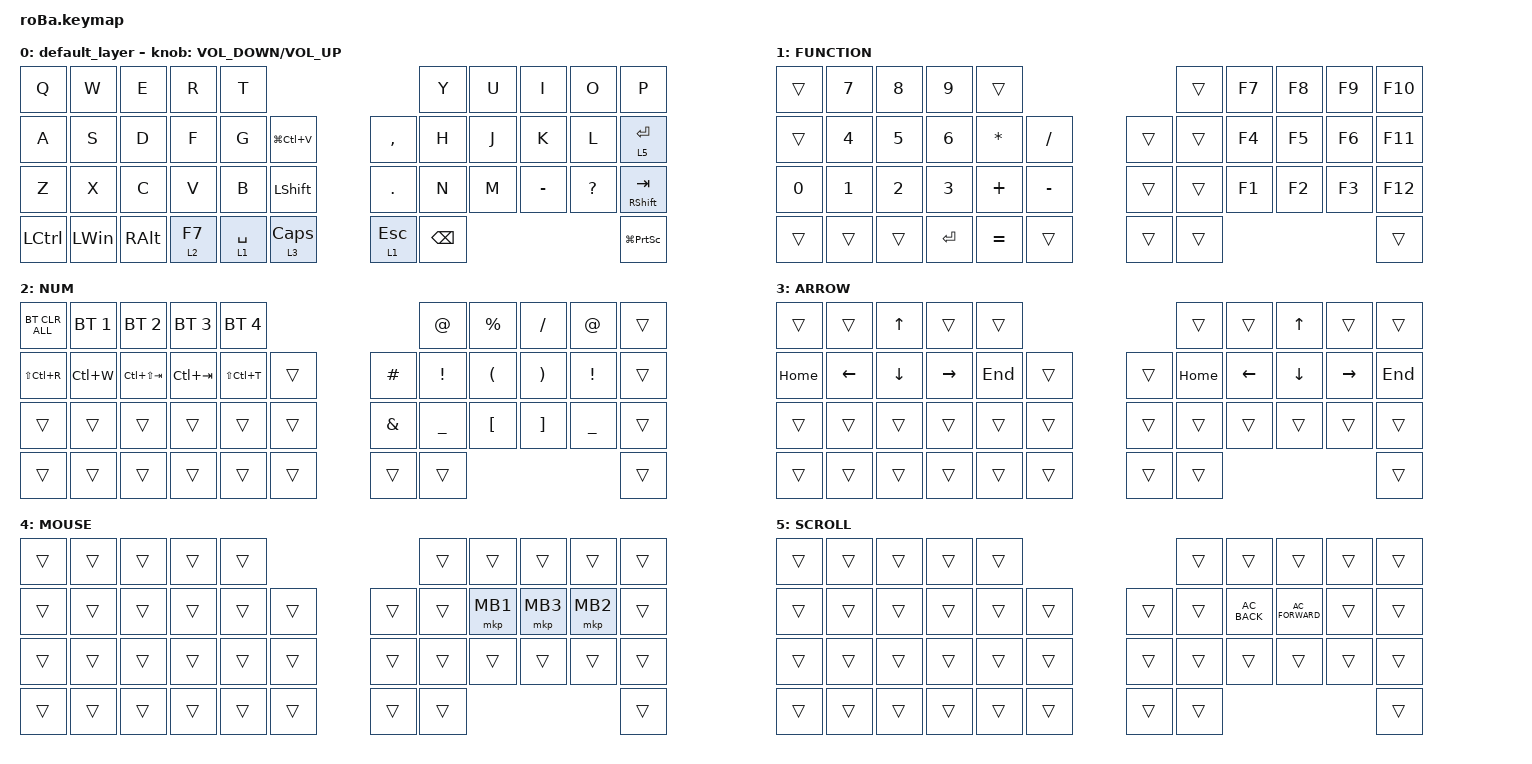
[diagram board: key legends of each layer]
#include <behaviors.dtsi>
#include <dt-bindings/zmk/bt.h>
#include <dt-bindings/zmk/keys.h>
#include <dt-bindings/zmk/pointing.h>

#define ZMK POINTING DEFAULTSCRL_VAL 100
#define MOUSE 4
#define SCROLL 5
#define NUM 6

&mt {
    flavor = "balanced";
    quick-tap-ms = <0>;
};

/ {
    combos {
        compatible = "zmk,combos";

        tab {
            bindings = <&kp TAB>;
            key-positions = <11 12>;
        };

        shift_tab {
            bindings = <&kp LS(TAB)>;
            key-positions = <12 13>;
        };

        muhennkann {
            bindings = <&to_layer_0 INT_MUHENKAN>;
            key-positions = <11 10>;
        };

        double_quotation {
            bindings = <&kp DOUBLE_QUOTES>;
            key-positions = <20 21>;
        };

        eq {
            bindings = <&kp EQUAL>;
            key-positions = <24 25>;
        };
    };

    macros {
        to_layer_0: to_layer_0 {
            compatible = "zmk,behavior-macro-one-param";
            #binding-cells = <1>;
            bindings = <&to 0 &macro_param_1to1 &kp MACRO_PLACEHOLDER>;
            label = "TO_LAYER_0";
        };
    };

    behaviors {
        lt_to_layer_0: lt_to_layer_0 {
            compatible = "zmk,behavior-hold-tap";
            label = "LAYER_TAP_TO_0";
            bindings = <&mo>, <&to_layer_0>;

            #binding-cells = <2>;
            tapping-term-ms = <200>;
        };

        scroll_up_down: behavior_sensor_rotate_mouse_wheel_up_down {
            compatible = "zmk,behavior-sensor-rotate";
            #sensor-binding-cells = <0>;
            bindings = <&msc SCRL_DOWN>, <&msc SCRL_UP>;
        };

        volume_up_down: behavior_sensor_rotate_volume {
            compatible = "zmk,behavior-sensor-rotate";
            #sensor-binding-cells = <0>;
            bindings = <&kp C_VOL_DN>, <&kp C_VOL_UP>;
        };
    };

    keymap {
        compatible = "zmk,keymap";

        default_layer {
            bindings = <
&kp Q             &kp W         &kp E          &kp R                &kp T                                                     &kp Y          &kp U  &kp I      &kp O         &kp P
&kp A             &kp S         &kp D          &kp F                &kp G        &kp LG(LC(V))                  &kp COMMA     &kp H          &kp J  &kp K      &kp L         &lt 5 ENTER
&kp Z             &kp X         &kp C          &kp V                &kp B        &kp LSHIFT                     &kp PERIOD    &kp N          &kp M  &kp MINUS  &kp QUESTION  &mt RSHIFT TAB
&kp LEFT_CONTROL  &kp LEFT_WIN  &kp RIGHT_ALT  &lt_to_layer_0 2 F7  &lt 1 SPACE  &lt_to_layer_0 3 CAPSLOCK      &lt 1 ESCAPE  &kp BACKSPACE                                  &kp LG(PRINTSCREEN)
            >;

            sensor-bindings = <&inc_dec_kp C_VOLUME_DOWN C_VOLUME_UP>;
        };

        FUNCTION {
            bindings = <
&trans        &kp NUMBER_7  &kp NUMBER_8  &kp NUMBER_9  &trans                            &trans  &kp F7  &kp F8  &kp F9  &kp F10
&trans        &kp NUMBER_4  &kp NUMBER_5  &kp NUMBER_6  &kp ASTRK  &kp SLASH      &trans  &trans  &kp F4  &kp F5  &kp F6  &kp F11
&kp NUMBER_0  &kp NUMBER_1  &kp NUMBER_2  &kp NUMBER_3  &kp PLUS   &kp MINUS      &trans  &trans  &kp F1  &kp F2  &kp F3  &kp F12
&trans        &trans        &trans        &kp ENTER     &kp EQUAL  &trans         &trans  &trans                          &trans
            >;
        };

        NUM {
            bindings = <
&bt BT_CLR_ALL  &bt BT_SEL 1  &bt BT_SEL 2     &bt BT_SEL 3  &bt BT_SEL 4                              &kp AT_SIGN      &kp PERCENT           &kp SLASH              &kp AT_SIGN      &trans
&kp LS(LC(R))   &kp LC(W)     &kp LC(LS(TAB))  &kp LC(TAB)   &kp LS(LC(T))  &trans      &kp HASH       &kp EXCLAMATION  &kp LEFT_PARENTHESIS  &kp RIGHT_PARENTHESIS  &kp EXCLAMATION  &trans
&trans          &trans        &trans           &trans        &trans         &trans      &kp AMPERSAND  &kp UNDERSCORE   &kp LEFT_BRACKET      &kp RIGHT_BRACKET      &kp UNDERSCORE   &trans
&trans          &trans        &trans           &trans        &trans         &trans      &trans         &trans                                                                         &trans
            >;
        };

        ARROW {
            bindings = <
&trans    &trans          &kp UP_ARROW    &trans           &trans                       &trans    &trans          &kp UP_ARROW    &trans           &trans
&kp HOME  &kp LEFT_ARROW  &kp DOWN_ARROW  &kp RIGHT_ARROW  &kp END  &trans      &trans  &kp HOME  &kp LEFT_ARROW  &kp DOWN_ARROW  &kp RIGHT_ARROW  &kp END
&trans    &trans          &trans          &trans           &trans   &trans      &trans  &trans    &trans          &trans          &trans           &trans
&trans    &trans          &trans          &trans           &trans   &trans      &trans  &trans                                                     &trans
            >;
        };

        MOUSE {
            bindings = <
&trans  &trans  &trans  &trans  &trans                      &trans  &trans    &trans    &trans    &trans
&trans  &trans  &trans  &trans  &trans  &trans      &trans  &trans  &mkp MB1  &mkp MB3  &mkp MB2  &trans
&trans  &trans  &trans  &trans  &trans  &trans      &trans  &trans  &trans    &trans    &trans    &trans
&trans  &trans  &trans  &trans  &trans  &trans      &trans  &trans                                &trans
            >;
        };

        SCROLL {
            bindings = <
&trans  &trans  &trans  &trans  &trans                      &trans  &trans         &trans            &trans  &trans
&trans  &trans  &trans  &trans  &trans  &trans      &trans  &trans  &kp C_AC_BACK  &kp C_AC_FORWARD  &trans  &trans
&trans  &trans  &trans  &trans  &trans  &trans      &trans  &trans  &trans         &trans            &trans  &trans
&trans  &trans  &trans  &trans  &trans  &trans      &trans  &trans                                           &trans
            >;
        };
    };
};
